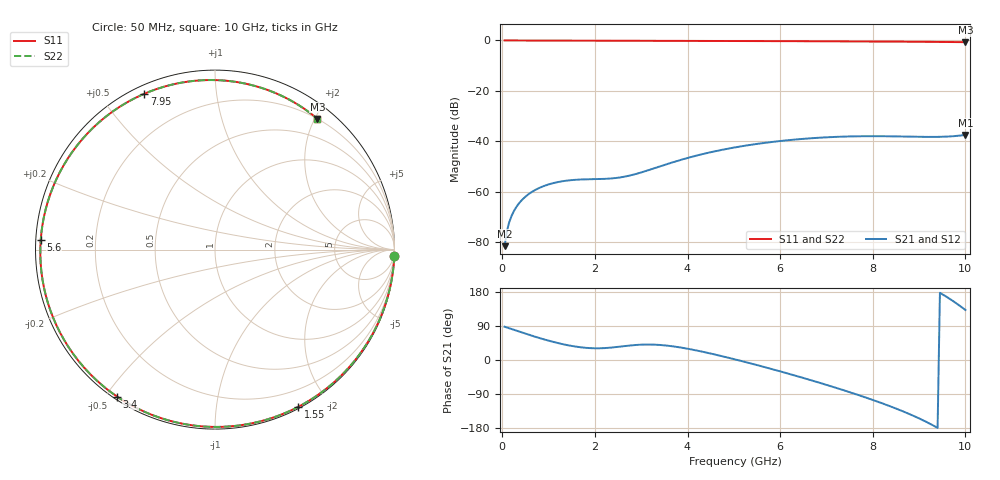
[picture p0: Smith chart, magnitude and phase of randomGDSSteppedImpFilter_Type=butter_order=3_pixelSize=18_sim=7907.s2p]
! freq	dB(S11)	phase(S11)	dB(S12)	phase(S12)
!  dB(S21)	phase(S21)	dB(S22)	phase(S22)
!S-par simulation data
#  GHz  S  DB  R 50
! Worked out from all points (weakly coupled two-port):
!   200 points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, 50 MHz to 10 GHz, reference 50 ohm
!   highest |S21| = -37.43 dB at 10 GHz (marker M1); lowest = -81.5 dB at 50 MHz (marker M2)
!   lowest |S11| = -0.7 dB at 10 GHz (marker M3), VSWR 25.78, Z = 10.1 + j102 ohm
!   |S11| at or under -10 dB: nowhere
!   |S22| runs from -0.7 to 0.0 dB; largest |S21 - S12| = 0
!   S11 on the Smith chart (normalised r, x): 50 MHz: 0, -54; 1.55 GHz: 0.02, -1.66; 3.4 GHz: 0.01, -0.54; 5.6 GHz: 0.01, +0.03; 7.95 GHz: 0.03, +0.64; 10 GHz: 0.20, +2.04
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0.05  -0.00 -2.1  -81.52 87.8  -81.52 87.8  -0.00 -2.1
0.15  -0.01 -6.3  -72.00 83.7  -72.00 83.7  -0.01 -6.3
0.2  -0.01 -8.4  -69.53 81.6  -69.53 81.6  -0.01 -8.4
0.35  -0.02 -14.6  -64.80 75.5  -64.80 75.5  -0.02 -14.6
0.5  -0.03 -20.8  -61.90 69.5  -61.90 69.5  -0.03 -20.8
0.7  -0.04 -29.0  -59.36 61.7  -59.36 61.7  -0.04 -29.0
0.95  -0.05 -39.0  -57.34 52.7  -57.34 52.7  -0.05 -39.0
1.55  -0.08 -62.2  -55.25 36.0  -55.25 36.0  -0.08 -62.2
1.75  -0.08 -69.6  -55.06 32.8  -55.06 32.8  -0.08 -69.6
2.1  -0.10 -82.1  -54.91 30.9  -54.91 30.9  -0.10 -82.1
2.5  -0.11 -95.6  -54.40 34.6  -54.40 34.6  -0.11 -95.6
3.4  -0.14 -123.6  -49.93 39.7  -49.93 39.7  -0.14 -123.7
4.25  -0.17 -147.7  -45.37 23.8  -45.37 23.8  -0.17 -147.7
5.05  -0.21 -168.9  -42.29 0.9  -42.29 0.9  -0.21 -169.0
5.6  -0.24 176.8  -40.74 -16.6  -40.74 -16.6  -0.24 176.8
6.15  -0.28 162.6  -39.56 -35.1  -39.56 -35.1  -0.28 162.6
6.7  -0.31 148.3  -38.71 -54.6  -38.71 -54.6  -0.31 148.3
7.3  -0.36 132.3  -38.14 -77.0  -38.14 -77.0  -0.36 132.3
7.95  -0.41 114.4  -37.93 -103.3  -37.93 -103.3  -0.41 114.4
8.35  -0.45 102.9  -37.98 -120.9  -37.98 -120.9  -0.45 102.9
9.2  -0.55 77.3  -38.22 -166.0  -38.22 -166.0  -0.55 77.3
10  -0.67 51.9  -37.43 132.0  -37.43 132.0  -0.67 52.0
